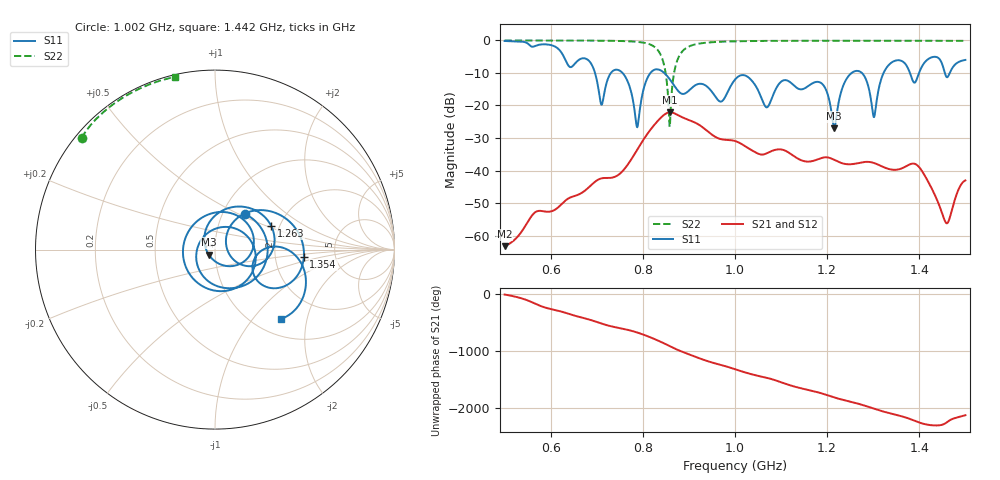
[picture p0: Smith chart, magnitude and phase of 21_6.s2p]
! TOUCHSTONE file generated by CST MICROWAVE STUDIO
! Date and time: Tue Nov 24 13:43:34 2020
! Project name: Scenario_1_Planar_Body_Tissue_Out_of_Line.cst
! Parameters = {dy1=0; L_HA=400; Ltissue=700; MT=2.54; Rad_Dielectric=30; Rad_Lower=7.3; Rad_Upper=30; Wtissue=700; a_HA=580; a_WG=246; b_HA=500; b_WG=121; c_HA=0; c_WG=187; d_feed=85; dx1=1039; h_feed=15; h_lower=18; h_upper=40; hfat=3; hgap=25; hmuscle=50; hskin=1.5}
! Header version: 2018
! Port assignment regex: !\s*Touchstone port\s*([0-9]+)\s*=\s*(CST MWS port|CST DS port)\s*([0-9]+|Zmin|Zmax)\s*\(\"(.*)\"\)(\s*mode\s*([0-9]+))?.*
! Touchstone port assignment:
! Touchstone port 1 = CST MWS port 1 ("")
! Touchstone port 2 = CST MWS port 2 ("")
# GHz S DB R 50
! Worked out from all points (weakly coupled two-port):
!   1003 points, 500 MHz to 1.5 GHz, reference 50 ohm
!   highest |S21| = -22.10 dB at 859 MHz (marker M1); lowest = -63.3 dB at 500 MHz (marker M2)
!   lowest |S11| = -27.0 dB at 1.215 GHz (marker M3), VSWR 1.09, Z = 46.5 - j2.58 ohm
!   |S11| at or under -10 dB: 755.9 MHz to 816.5 MHz (60.59 MHz wide, 7.71 % of centre); 846.5 MHz to 1.253 GHz (406.6 MHz wide, 38.7 % of centre); 1.275 GHz to 1.322 GHz (47.09 MHz wide, 3.63 % of centre) (the widest 3 of 6)
!   |S22| runs from -26.6 to 0.0 dB; largest |S21 - S12| = 9.3e-06
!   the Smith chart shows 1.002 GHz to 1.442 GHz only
!   S11 on the Smith chart (normalised r, x): 1.002 GHz: 1.28, +0.54; 1.263 GHz: 1.81, +0.53; 1.354 GHz: 2.93, -0.32; 1.442 GHz: 1.30, -1.40
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0.5  -0.16 -121.6  -63.25 -16.7  -63.25 -16.7  -0.01 151.1
0.596  -1.30 -172.7  -52.67 97.7  -52.67 97.7  -0.02 144.4
0.667  -5.56 151.5  -46.90 -59.0  -46.90 -59.0  -0.04 138.4
0.71  -19.76 -33.2  -42.41 -164.4  -42.41 -164.4  -0.08 133.6
0.756  -10.02 118.6  -40.17 104.7  -40.17 104.7  -0.19 126.4
0.788  -26.68 -49.5  -33.53 37.6  -33.53 37.6  -0.44 117.8
0.834  -8.95 83.9  -24.49 -107.0  -24.49 -107.0  -3.26 84.1
0.859  -12.04 -7.1  -22.10 155.7  -22.10 155.7  -25.74 -77.3
0.888  -16.45 -145.6  -23.79 52.9  -23.79 52.9  -3.02 178.9
1  -12.03 56.8  -30.91 114.9  -30.91 114.9  -0.27 140.3
1.002  -11.72 49.5  -31.01 109.5  -31.01 109.5  -0.26 140.0
1.069  -20.57 146.7  -34.68 -34.8  -34.68 -34.8  -0.14 132.6
1.118  -12.67 -84.2  -34.61 -163.1  -34.61 -163.1  -0.11 128.2
1.167  -13.27 73.4  -37.12 96.8  -37.12 96.8  -0.10 124.2
1.215  -27.01 -141.7  -36.68 -19.0  -36.68 -19.0  -0.09 120.5
1.263  -9.37 22.6  -37.84 -119.9  -37.84 -119.9  -0.09 116.9
1.302  -23.56 18.3  -37.70 141.1  -37.70 141.1  -0.08 114.0
1.334  -7.50 25.7  -39.53 67.4  -39.53 67.4  -0.09 111.5
1.354  -6.08 -4.8  -39.68 26.5  -39.68 26.5  -0.09 110.0
1.442  -5.47 -46.5  -50.24 -148.8  -50.25 -148.8  -0.11 103.0
1.461  -11.29 -39.5  -56.15 -87.7  -56.15 -87.4  -0.11 101.4
1.5  -5.99 -42.2  -43.03 28.7  -43.03 28.6  -0.13 98.0
